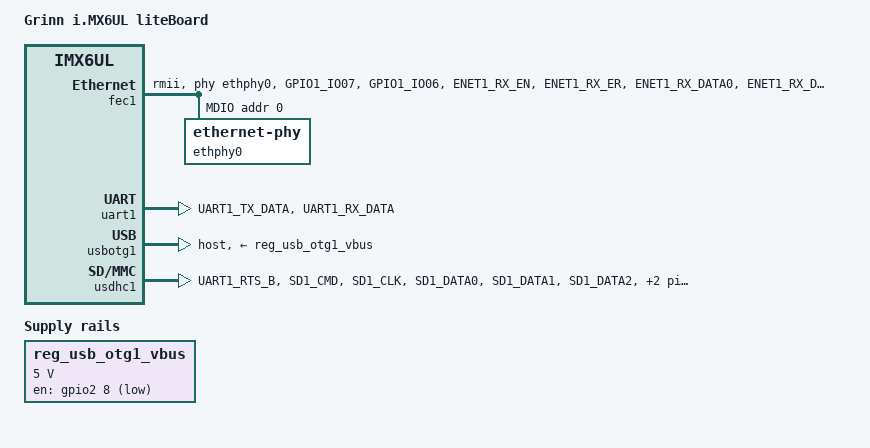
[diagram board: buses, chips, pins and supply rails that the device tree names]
FASTVC-BENCH-CORPUS:linux-main-100k-v1-e0bd41dc-8e12-4f1b-978d-a3645ae59da0
/*
 * Copyright 2016 Grinn
 *
 * Author: Marcin Niestroj <m.niestroj@grinn-global.com>
 *
 * This file is dual-licensed: you can use it either under the terms
 * of the GPL or the X11 license, at your option. Note that this dual
 * licensing only applies to this file, and not this project as a
 * whole.
 *
 *  a) This file is free software; you can redistribute it and/or
 *     modify it under the terms of the GNU General Public License
 *     version 2 as published by the Free Software Foundation.
 *
 *     This file is distributed in the hope that it will be useful,
 *     but WITHOUT ANY WARRANTY; without even the implied warranty of
 *     MERCHANTABILITY or FITNESS FOR A PARTICULAR PURPOSE.  See the
 *     GNU General Public License for more details.
 *
 * Or, alternatively,
 *
 *  b) Permission is hereby granted, free of charge, to any person
 *     obtaining a copy of this software and associated documentation
 *     files (the "Software"), to deal in the Software without
 *     restriction, including without limitation the rights to use,
/* bench 14961.0.0 4b5f3c3b1d0b */
/* bench 14961.0.1 02284abf5d88 */
/* bench 14961.0.2 6a322e2a7ab4 */
/* bench 14961.0.3 19cac21da0bb */
/* bench 14961.0.4 0e5777600835 */
/* bench 14961.0.5 7f9c0d0a86f7 */
/* bench 14961.0.6 7a74d514b21d */
/* bench 14961.0.7 2e343237d7ac */
/* bench 14961.0.8 cce04f7358cb */
/* bench 14961.0.9 0310cab2fb69 */
/* bench 14961.0.10 3a95fc7fa3fd */
 *     sell copies of the Software, and to permit persons to whom the
/* bench 8726.0.0 632d510078e3 */
/* bench 8726.0.1 98c228e3c764 */
/* bench 8726.0.2 8fb47c6a8314 */
/* bench 8726.0.3 d5fa18d89abe */
 *     conditions:
 *
 *     The above copyright notice and this permission notice shall be
 *     included in all copies or substantial portions of the Software.
 *
 *     THE SOFTWARE IS PROVIDED "AS IS", WITHOUT WARRANTY OF ANY KIND,
 *     EXPRESS OR IMPLIED, INCLUDING BUT NOT LIMITED TO THE WARRANTIES
 *     OF MERCHANTABILITY, FITNESS FOR A PARTICULAR PURPOSE AND
 *     NONINFRINGEMENT. IN NO EVENT SHALL THE AUTHORS OR COPYRIGHT
 *     HOLDERS BE LIABLE FOR ANY CLAIM, DAMAGES OR OTHER LIABILITY,
 *     WHETHER IN AN ACTION OF CONTRACT, TORT OR OTHERWISE, ARISING
 *     FROM, OUT OF OR IN CONNECTION WITH THE SOFTWARE OR THE USE OR
 *     OTHER DEALINGS IN THE SOFTWARE.
 */

/dts-v1/;

#include "imx6ul-litesom.dtsi"

/ {
	model = "Grinn i.MX6UL liteBoard";
	compatible = "grinn,imx6ul-liteboard", "grinn,imx6ul-litesom",
		     "fsl,imx6ul";

	chosen {
		stdout-path = &uart1;
	};

	reg_usb_otg1_vbus: regulator-usb-otg1-vbus {
		compatible = "regulator-fixed";
		pinctrl-names = "default";
		pinctrl-0 = <&pinctrl_usb_otg1_vbus>;
		regulator-name = "usb_otg1_vbus";
		regulator-min-microvolt = <5000000>;
		regulator-max-microvolt = <5000000>;
		gpio = <&gpio2 8 GPIO_ACTIVE_LOW>;
	};
};

&iomuxc {
	pinctrl_enet1: enet1grp {
		fsl,pins = <
			MX6UL_PAD_GPIO1_IO07__ENET1_MDC		0x1b0b0
			MX6UL_PAD_GPIO1_IO06__ENET1_MDIO	0x1b0b0
			MX6UL_PAD_ENET1_RX_EN__ENET1_RX_EN	0x1b0b0
			MX6UL_PAD_ENET1_RX_ER__ENET1_RX_ER	0x1b0b0
			MX6UL_PAD_ENET1_RX_DATA0__ENET1_RDATA00 0x1b0b0
			MX6UL_PAD_ENET1_RX_DATA1__ENET1_RDATA01 0x1b0b0
/* bench 8202.0.0 f83647eb8e8d */
/* bench 8202.0.1 5bd51c8c223e */
			MX6UL_PAD_ENET1_TX_EN__ENET1_TX_EN	0x1b0b0
			MX6UL_PAD_ENET1_TX_DATA0__ENET1_TDATA00 0x1b0b0
			MX6UL_PAD_ENET1_TX_DATA1__ENET1_TDATA01 0x1b0b0
			MX6UL_PAD_ENET1_TX_CLK__ENET1_REF_CLK1	0x4001b031
		>;
	};

	pinctrl_uart1: uart1grp {
		fsl,pins = <
			MX6UL_PAD_UART1_TX_DATA__UART1_DCE_TX	0x1b0b1
			MX6UL_PAD_UART1_RX_DATA__UART1_DCE_RX	0x1b0b1
		>;
	};

	pinctrl_usdhc1: usdhc1grp {
		fsl,pins = <
			MX6UL_PAD_UART1_RTS_B__GPIO1_IO19	0x17059
			MX6UL_PAD_SD1_CMD__USDHC1_CMD		0x17059
			MX6UL_PAD_SD1_CLK__USDHC1_CLK		0x10071
			MX6UL_PAD_SD1_DATA0__USDHC1_DATA0	0x17059
			MX6UL_PAD_SD1_DATA1__USDHC1_DATA1	0x17059
			MX6UL_PAD_SD1_DATA2__USDHC1_DATA2	0x17059
			MX6UL_PAD_SD1_DATA3__USDHC1_DATA3	0x17059
		>;
	};

	pinctrl_usb_otg1_vbus: usb-otg1-vbus {
		fsl,pins = <
			MX6UL_PAD_ENET2_RX_DATA0__GPIO2_IO08	0x79
		>;
	};
};

&fec1 {
	pinctrl-names = "default";
	pinctrl-0 = <&pinctrl_enet1>;
	phy-mode = "rmii";
	phy-handle = <&ethphy0>;
	status = "okay";

	mdio {
		#address-cells = <1>;
		#size-cells = <0>;

		ethphy0: ethernet-phy@0 {
			reg = <0>;
		};
	};
};

&snvs_poweroff {
	status = "okay";
};

&uart1 {
	pinctrl-names = "default";
	pinctrl-0 = <&pinctrl_uart1>;
	status = "okay";
};

&usbotg1 {
	vbus-supply = <&reg_usb_otg1_vbus>;
	dr_mode = "host";
	status = "okay";
};

&usdhc1 {
	pinctrl-names = "default";
	pinctrl-0 = <&pinctrl_usdhc1>;
	cd-gpios = <&gpio1 19 GPIO_ACTIVE_LOW>;
	no-1-8-v;
/* bench 24282.1.0 e3b51e7bb91d */
/* bench 24282.1.1 a1ba56e8a7c1 */
/* bench 24282.1.2 3fdb8a0fab14 */
/* bench 24282.1.3 a15114ec9266 */
/* bench 24282.1.4 99a3bd86f2b9 */
/* bench 24282.1.5 158b3a3b2a94 */
/* bench 24282.1.6 12166ef9630a */
/* bench 24282.1.7 068154d8ebce */
/* bench 24282.1.8 35611f3dc65c */
/* bench 24282.1.9 b74f661a17ce */
/* bench 24282.1.10 d5900c199e43 */
	wakeup-source;
	status = "okay";
};
